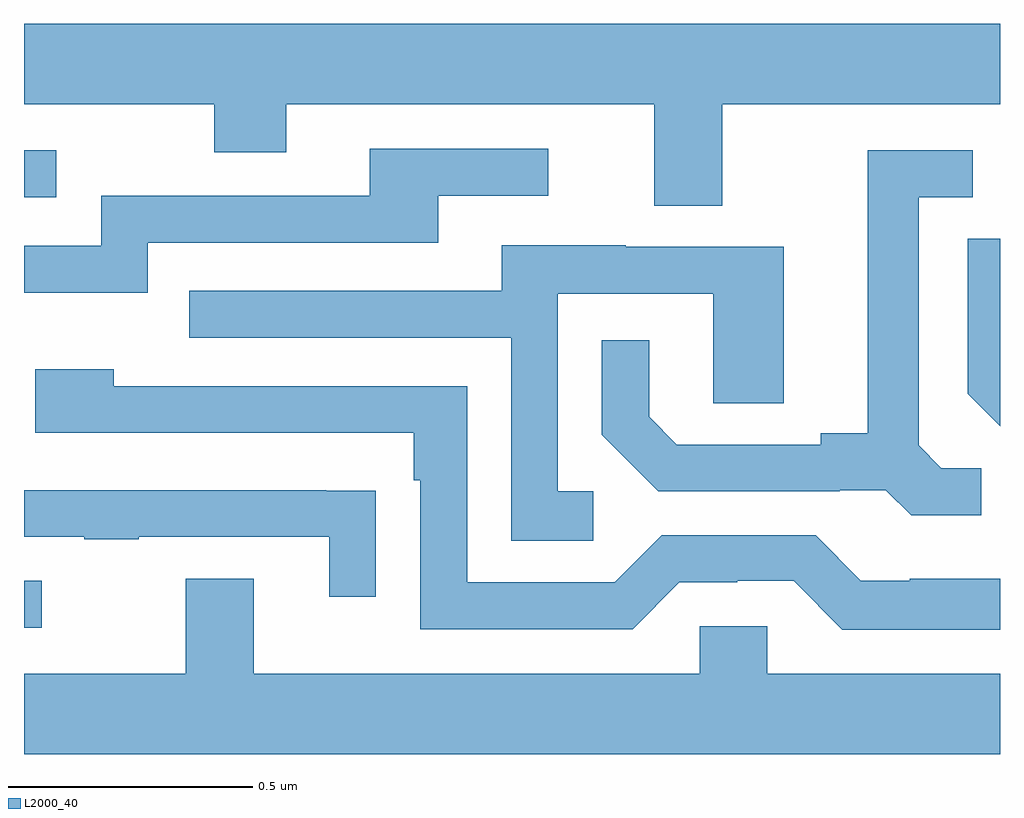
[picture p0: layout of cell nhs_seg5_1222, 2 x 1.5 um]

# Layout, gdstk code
import gdstk
lib = gdstk.Library(unit=1e-6, precision=1e-09)
def R(c, l, rs):  # rectangles x0, y0, x1, y1
    for r in rs: c.add(gdstk.rectangle(r[:2], r[2:], *l))
def P(c, l, *ps):  # polygons
    for p in ps: c.add(gdstk.Polygon(p, *l))
L2000_40 = (2000, 40)

nhs_seg5_1222 = lib.new_cell('nhs_seg5_1222')
R(nhs_seg5_1222, L2000_40, [(127,858.351,127.036,858.447), (127,859.233,127.066,859.329)])
P(nhs_seg5_1222, L2000_40, [(127,859.424),(127.39,859.424),(127.39,859.325),(127.537,859.325),(127.537,859.424),(128.291,859.424),(128.291,859.216),(128.431,859.216),(128.431,859.424),(129,859.424),(129,859.588),(127,859.588)],
  [(127.254,859.14),(127.849,859.14),(127.849,859.236),(128.074,859.236),(128.074,859.332),(127.709,859.332),(127.709,859.236),(127.158,859.236),(127.158,859.134),(127,859.134),(127,859.037),(127.254,859.037)],
  [(128.962,858.678),(128.88,858.678),(128.833,858.725),(128.833,859.233),(128.944,859.233),(128.944,859.329),(128.729,859.329),(128.729,858.749),(128.633,858.749),(128.633,858.726),(128.338,858.726),(128.281,858.783),(128.281,858.94),(128.184,858.94),(128.184,858.746),(128.3,858.63),(128.672,858.63),(128.672,858.633),(128.766,858.633),(128.818,858.581),(128.962,858.581)],
  [(129,859.148),(128.934,859.148),(128.934,858.83),(129,858.764)],
  [(128.167,858.63),(128.094,858.63),(128.094,859.035),(128.412,859.035),(128.412,858.811),(128.557,858.811),(128.557,859.131),(128.233,859.131),(128.233,859.135),(127.979,859.135),(127.979,859.041),(127.339,859.041),(127.339,858.945),(127.998,858.945),(127.998,858.529),(128.167,858.529)],
  [(129,858.451),(128.815,858.451),(128.815,858.447),(128.715,858.447),(128.622,858.54),(128.307,858.54),(128.211,858.444),(127.908,858.444),(127.908,858.846),(127.184,858.846),(127.184,858.88),(127.023,858.88),(127.023,858.75),(127.799,858.75),(127.799,858.653),(127.812,858.653),(127.812,858.348),(128.247,858.348),(128.343,858.444),(128.462,858.444),(128.462,858.447),(128.577,858.447),(128.677,858.347),(129,858.347)],
  [(127.721,858.632),(127.619,858.632),(127.619,858.633),(127,858.633),(127,858.537),(127.123,858.537),(127.123,858.532),(127.235,858.532),(127.235,858.537),(127.625,858.537),(127.625,858.414),(127.721,858.414)],
  [(129,858.256),(128.523,858.256),(128.523,858.354),(128.385,858.354),(128.385,858.256),(127.471,858.256),(127.471,858.451),(127.331,858.451),(127.331,858.256),(127,858.256),(127,858.092),(129,858.092)])

lib.write_gds('nhs_seg5_1222.gds')
